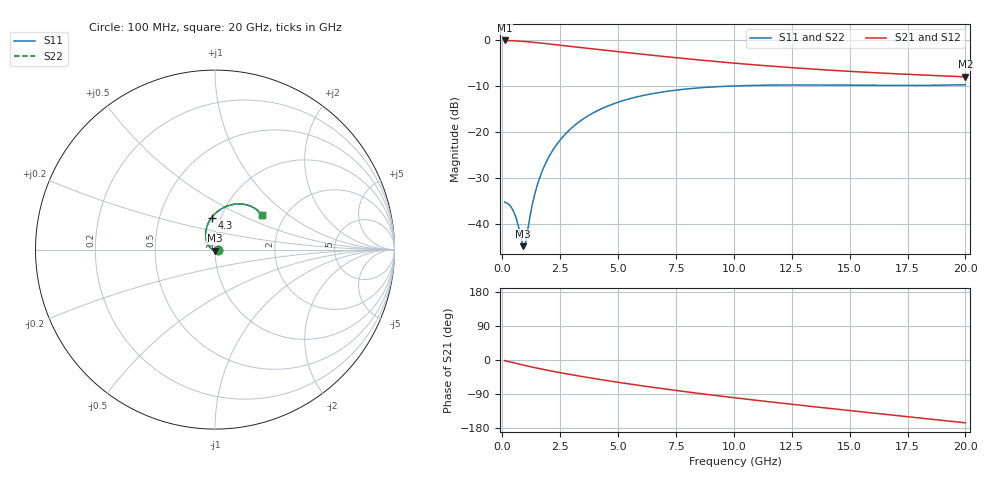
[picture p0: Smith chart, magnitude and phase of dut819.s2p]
! Touchstone file exported from HFSS 2024.1.0
!  File:  C:/UserFiles/LocalFiles/RDL_TSV_Batchsim/temp_RDL_TSV_819_1779914886.aedt
!  Generated:  05:04:32 AM May 28, 2026
!  Design:  RDL_TSV
!  Project:  temp_RDL_TSV_819_1779914886
!  Setup:  Setup1
!  Solution:  Sweep
! Variables:
!  dtsv = 10.17um
!  hbump = 3um
!  htsv = 86.24um
!  ldown = 152.73um
!  lrdl = 387.64um
!  p = 40
!  p1 = 46.58um
!  rhole = 10um
!  subl = 2008.75um
!  t = 450um
!  tdown = 3.66um
!  trdl = 2.35um
!  viad = 10um
!  wdown = 26.81um
!  wrdl = 15.51um
!  xbump = 18um
# GHz S MA R 50.000000
! Terminal data exported
! Port[1] = TM1_1_T1
! Port[2] = TM1_4_T1
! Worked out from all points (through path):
!   200 points, 100 MHz to 20 GHz, reference 50 ohm
!   highest |S21| = -0.16 dB at 100 MHz (marker M1); lowest = -8.1 dB at 20 GHz (marker M2)
!   group delay of S21, straight-line fit = 21.7 ps
!   lowest |S11| = -44.9 dB at 900 MHz (marker M3), VSWR 1.01, Z = 50 - j0.57 ohm
!   |S11| at or under -10 dB: start of sweep to 10.26 GHz
!   |S22| runs from -44.9 to -9.8 dB; largest |S21 - S12| = 8.8e-15
!   S11 on the Smith chart (normalised r, x): 100 MHz: 1.03, -0.00; 4.3 GHz: 0.90, +0.33; 20 GHz: 1.53, +0.66
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0.1  0.01719 -3.5  0.9823 -1.5  0.9823 -1.5  0.01719 -3.5
! Gamma 0 0 0 0
! Port Impedance 50 0 50 0
0.3  0.01605 -11.9  0.9793 -4.6  0.9793 -4.6  0.01605 -11.9
0.5  0.01338 -23.6  0.9743 -7.6  0.9743 -7.6  0.01337 -23.6
0.7  0.009332 -43.0  0.9676 -10.5  0.9676 -10.5  0.009311 -43.0
0.9  0.005701 -91.3  0.9596 -13.3  0.9596 -13.3  0.005684 -91.6
1  0.00612 -130.7  0.9551 -14.7  0.9551 -14.7  0.006126 -131.1
1.2  0.01217 -175.4  0.9454 -17.5  0.9454 -17.5  0.01221 -175.6
1.4  0.0209 166.9  0.9349 -20.1  0.9349 -20.1  0.02097 166.8
1.6  0.0308 156.3  0.9238 -22.7  0.9238 -22.7  0.03089 156.2
1.9  0.04695 145.0  0.9066 -26.5  0.9066 -26.5  0.04707 144.9
2.2  0.06399 136.1  0.8891 -30.0  0.8891 -30.0  0.06415 136.0
2.6  0.08725 126.2  0.866 -34.6  0.866 -34.6  0.08746 126.2
3  0.1103 117.7  0.8435 -39.0  0.8435 -39.0  0.1106 117.7
3.5  0.1381 108.5  0.8164 -44.2  0.8164 -44.2  0.1384 108.5
4.3  0.1786 96.2  0.7756 -52.2  0.7756 -52.2  0.179 96.2
5.4  0.2248 82.6  0.7239 -62.5  0.7239 -62.5  0.2253 82.6
6.8  0.2676 69.2  0.6649 -74.6  0.6649 -74.6  0.2682 69.2
8.4  0.2983 57.8  0.6064 -87.5  0.6064 -87.5  0.299 57.8
10.1  0.3153 48.9  0.5545 -100.2  0.5545 -100.2  0.316 48.9
13.4  0.322 38.8  0.4798 -122.9  0.4798 -122.9  0.3227 38.8
16.7  0.3184 35.6  0.43 -144.5  0.43 -144.5  0.3192 35.6
20  0.3245 36.5  0.3952 -165.8  0.3952 -165.8  0.3252 36.5
